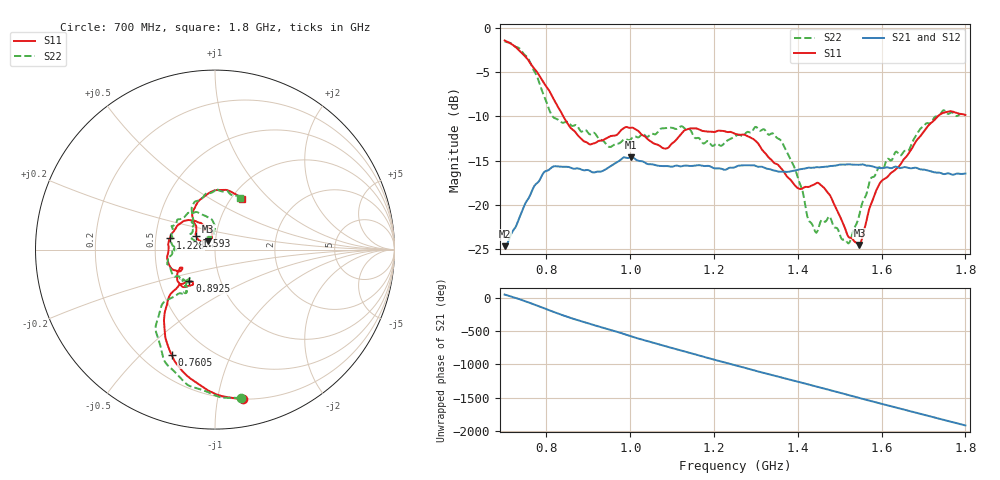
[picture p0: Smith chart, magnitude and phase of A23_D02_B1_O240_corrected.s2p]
! Created with skrf 1.9.0 (http://scikit-rf.org).
# Hz S RI R 50.0
!freq ReS11 ImS11 ReS21 ImS21 ReS12 ImS12 ReS22 ImS22
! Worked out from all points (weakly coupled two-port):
!   1601 points, 700 MHz to 1.8 GHz, reference 50 ohm
!   highest |S21| = -14.61 dB at 1.002 GHz (marker M1); lowest = -24.7 dB at 700 MHz (marker M2)
!   lowest |S11| = -24.5 dB at 1.547 GHz (marker M3), VSWR 1.13, Z = 46.2 + j4.28 ohm
!   |S11| at or under -10 dB: 840.2 MHz to 1.734 GHz (893.9 MHz wide, 69.4 % of centre)
!   |S22| runs from -24.4 to -1.5 dB; largest |S21 - S12| = 0.0034
!   S11 on the Smith chart (normalised r, x): 700 MHz: 0.20, -1.19; 760.5 MHz: 0.32, -0.62; 892.5 MHz: 0.71, -0.26; 1.228 GHz: 0.59, +0.08; 1.593 GHz: 0.80, +0.12; 1.8 GHz: 1.12, +0.71
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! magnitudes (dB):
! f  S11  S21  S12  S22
! 700 MHz  -1.4  -24.7  -24.5  -1.5
! 760.5 MHz  -3.9  -19.0  -18.8  -3.8
! 814.1 MHz  -7.8  -15.7  -15.8  -10.0
! 883.6 MHz  -12.6  -16.0  -15.9  -11.7
! 892.5 MHz  -12.9  -16.1  -16.1  -11.5
! 950.9 MHz  -12.3  -15.7  -15.7  -13.5
! 1.002 GHz  -11.3  -14.6  -14.7  -12.5
! 1.067 GHz  -13.2  -15.6  -15.5  -11.7
! 1.141 GHz  -11.4  -15.6  -15.6  -11.4
! 1.228 GHz  -11.7  -16.0  -15.9  -12.9
! 1.25 GHz  -12.0  -15.7  -15.7  -12.3
! 1.3 GHz  -12.8  -15.6  -15.6  -11.2
! 1.359 GHz  -15.8  -16.3  -16.2  -12.7
! 1.401 GHz  -18.1  -16.0  -16.0  -17.0
! 1.434 GHz  -17.8  -15.8  -15.8  -22.2
! 1.476 GHz  -18.8  -15.6  -15.6  -21.3
! 1.52 GHz  -23.6  -15.4  -15.4  -24.4
! 1.547 GHz  -24.5  -15.5  -15.4  -21.1
! 1.593 GHz  -17.8  -15.8  -15.8  -15.8
! 1.617 GHz  -16.7  -15.8  -15.8  -14.8
! 1.738 GHz  -9.8  -16.4  -16.4  -9.9
! 1.8 GHz  -9.8  -16.5  -16.5  -9.9
